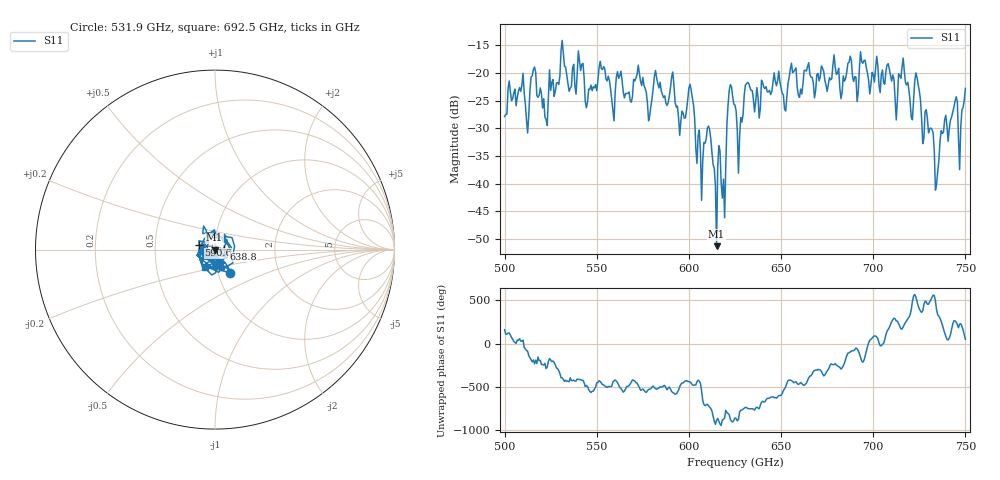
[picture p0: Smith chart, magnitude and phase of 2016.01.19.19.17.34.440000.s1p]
!Created with skrf (http://scikit-rf.org).
# GHz S RI R 50.0
!freq ReS11 ImS11
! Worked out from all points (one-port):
!   401 points, 500 GHz to 750 GHz, reference 50 ohm
!   lowest |S11| = -51.3 dB at 615 GHz (marker M1), VSWR 1.01, Z = 49.7 - j0.0484 ohm
!   |S11| at or under -10 dB: start of sweep to end of sweep
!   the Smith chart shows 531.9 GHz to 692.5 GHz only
!   S11 on the Smith chart (normalised r, x): 531.9 GHz: 1.14, -0.30; 590.6 GHz: 0.84, +0.05; 638.8 GHz: 1.10, +0.01; 692.5 GHz: 0.88, -0.17
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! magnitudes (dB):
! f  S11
! 500 GHz  -27.8
! 512.5 GHz  -30.8
! 515.6 GHz  -19.3
! 521.9 GHz  -28.0
! 531.2 GHz  -14.1
! 531.9 GHz  -16.4
! 545 GHz  -25.2
! 562.5 GHz  -20.5
! 578.8 GHz  -27.7
! 590.6 GHz  -20.7
! 593.8 GHz  -26.0
! 601.2 GHz  -23.1
! 605.6 GHz  -30.3
! 610.6 GHz  -29.6
! 615 GHz  -51.3
! 618.8 GHz  -39.2
! 622.5 GHz  -22.1
! 625 GHz  -25.8
! 627.5 GHz  -31.4
! 631.2 GHz  -21.9
! 638.8 GHz  -26.4
! 656.2 GHz  -19.9
! 687.5 GHz  -16.9
! 692.5 GHz  -19.1
! 718.8 GHz  -21.7
! 723.8 GHz  -20.7
! 734.4 GHz  -40.0
! 750 GHz  -22.8
